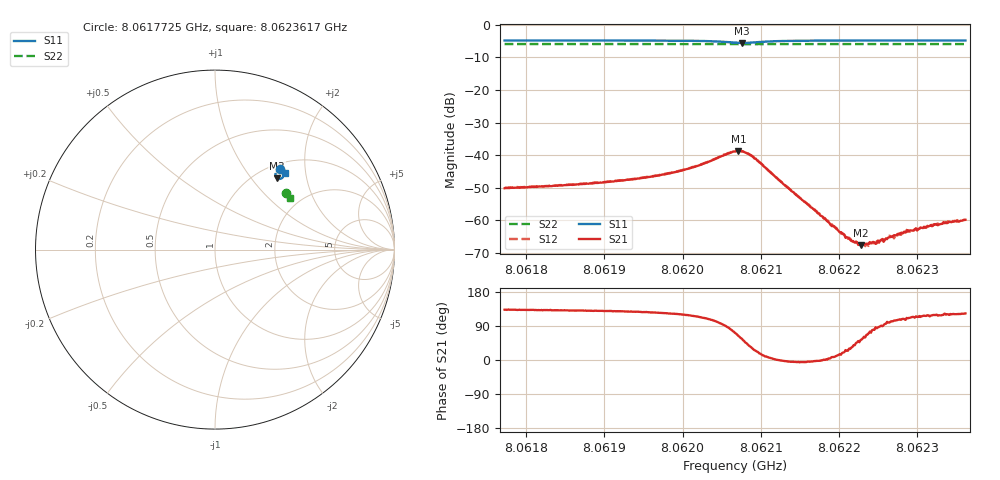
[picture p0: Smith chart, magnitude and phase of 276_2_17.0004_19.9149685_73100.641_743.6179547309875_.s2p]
#  HZ  S  RI  R  50.00
! Rohde & Schwarz Vector Network Analyzer
! Rohde-Schwarz,ZNB20-2Port,1311601062101988,3.16
! Created: UTC 3/20/2024, 11:04:23 PM
! freq[Hz]  re:S11  im:S11  re:S21  im:S21  re:S12  im:S12  re:S22  im:S22
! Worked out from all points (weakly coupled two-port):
!   401 points, 8.0617725 GHz to 8.0623617 GHz, reference 50 ohm
!   highest |S21| = -38.75 dB at 8.0620715 GHz (marker M1); lowest = -67.7 dB at 8.0622276 GHz (marker M2)
!   lowest |S11| = -5.6 dB at 8.0620759 GHz (marker M3), VSWR 3.23, Z = 61.6 + j67.8 ohm
!   |S11| at or under -10 dB: nowhere
!   |S22| runs from -5.9 to -5.9 dB; largest |S21 - S12| = 0.00087
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8.06177249e9  0.3626 0.4475  -0.0021 0.00227  -0.00198 0.00241  0.3981 0.315
8.06187118e9  0.3695 0.4412  -0.00232 0.00272  -0.00219 0.00289  0.4018 0.3101
8.06192863e9  0.3741 0.4365  -0.00258 0.0033  -0.00237 0.00344  0.4038 0.3073
8.06196987e9  0.3779 0.4314  -0.00277 0.00401  -0.00256 0.00422  0.4054 0.3049
8.062017e9  0.382 0.4205  -0.00285 0.00604  -0.00253 0.00627  0.407 0.3022
8.06206708e9  0.359 0.3935  0.00358 0.0108  0.00432 0.0107  0.4074 0.299
8.0620715e9  0.3522 0.3947  0.00515 0.0103  0.00575 0.0102  0.4071 0.299
8.06207592e9  0.3455 0.3979  0.00637 0.00945  0.00716 0.0091  0.4069 0.2988
8.06208476e9  0.3374 0.4097  0.00816 0.00644  0.00858 0.00593  0.4072 0.2992
8.06209212e9  0.3367 0.42  0.00794 0.00384  0.00839 0.00348  0.4074 0.2992
8.062126e9  0.3547 0.4389  0.00385 -0.000108  0.0039 -0.000346  0.4098 0.2984
8.06216577e9  0.3672 0.4386  0.00154 -0.000107  0.00153 -0.00019  0.4116 0.2961
8.06220554e9  0.3736 0.4358  0.000576 0.000206  0.000601 0.000153  0.4132 0.294
8.06221732e9  0.3752 0.4351  0.000403 0.000281  0.000402 0.000238  0.4137 0.2934
8.06222764e9  0.3765 0.4344  0.00025 0.00033  0.000277 0.000321  0.414 0.2929
8.06223647e9  0.3773 0.4339  0.00017 0.000403  0.00014 0.000387  0.4143 0.2924
8.06224826e9  0.3786 0.4331  4.8e-05 0.000437  0.000113 0.000459  0.4148 0.2919
8.06226446e9  0.38 0.432  -8.32e-05 0.000541  -6.31e-05 0.000574  0.4154 0.2909
8.0622733e9  0.3808 0.4316  -0.000149 0.000565  -0.000116 0.000602  0.4157 0.2905
8.06228655e9  0.382 0.4306  -0.000236 0.000615  -0.000223 0.000673  0.4161 0.2898
8.06232338e9  0.3848 0.4286  -0.000412 0.00075  -0.000366 0.000789  0.4174 0.2878
8.06236167e9  0.3874 0.4263  -0.00055 0.000854  -0.00049 0.000875  0.4186 0.2859
